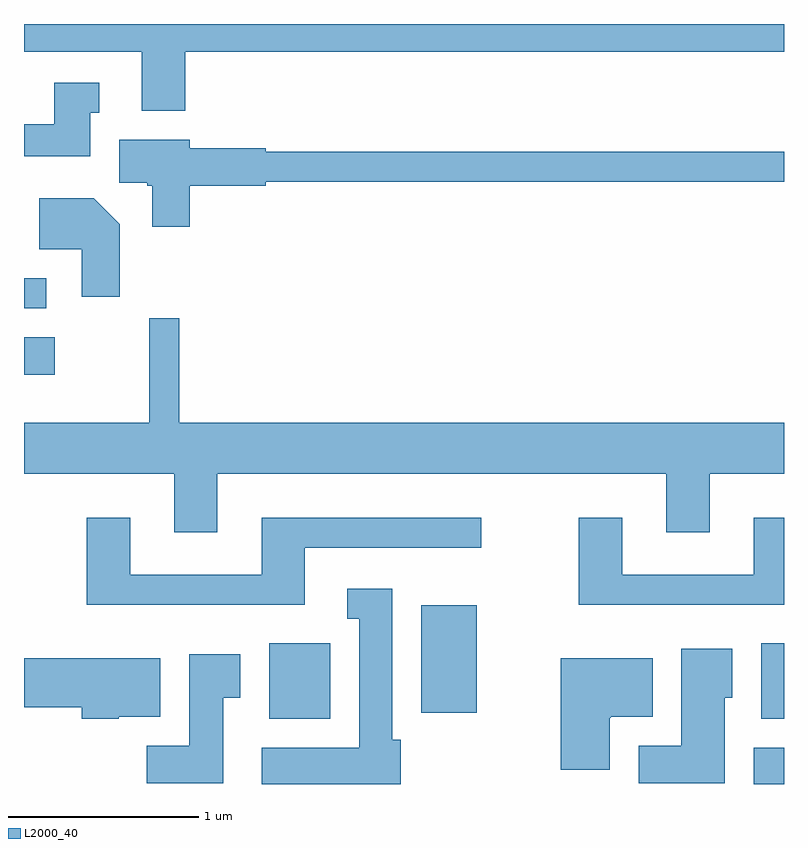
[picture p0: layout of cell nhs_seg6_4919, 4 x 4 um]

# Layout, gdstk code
import gdstk
lib = gdstk.Library(unit=1e-6, precision=1e-09)
def R(c, l, rs):  # rectangles x0, y0, x1, y1
    for r in rs: c.add(gdstk.rectangle(r[:2], r[2:], *l))
def P(c, l, *ps):  # polygons
    for p in ps: c.add(gdstk.Polygon(p, *l))
L2000_40 = (2000, 40)

nhs_seg6_4919 = lib.new_cell('nhs_seg6_4919')
R(nhs_seg6_4919, L2000_40, [(339.451,1566.162,339.611,1566.354), (336.901,1566.506,337.224,1566.904), (339.491,1566.506,339.611,1566.904), (337.701,1566.536,337.994,1567.104), (335.611,1568.316,335.774,1568.514), (335.611,1568.666,335.728,1568.824)])
P(nhs_seg6_4919, L2000_40, [(336.459,1570.016),(339.611,1570.016),(339.611,1570.162),(335.611,1570.162),(335.611,1570.016),(336.231,1570.016),(336.231,1569.706),(336.459,1569.706)],
  [(335.959,1569.696),(336.008,1569.696),(336.008,1569.854),(335.771,1569.854),(335.771,1569.634),(335.611,1569.634),(335.611,1569.466),(335.959,1569.466)],
  [(336.484,1569.311),(336.884,1569.311),(336.884,1569.331),(339.611,1569.331),(339.611,1569.489),(336.884,1569.489),(336.884,1569.509),(336.484,1569.509),(336.484,1569.554),(336.111,1569.554),(336.111,1569.326),(336.26,1569.326),(336.26,1569.311),(336.286,1569.311),(336.286,1569.096),(336.484,1569.096)],
  [(336.114,1569.107),(335.977,1569.244),(335.691,1569.244),(335.691,1568.976),(335.916,1568.976),(335.916,1568.726),(336.114,1568.726)],
  [(336.629,1567.796),(338.991,1567.796),(338.991,1567.486),(339.219,1567.486),(339.219,1567.796),(339.611,1567.796),(339.611,1568.064),(336.429,1568.064),(336.429,1568.613),(336.271,1568.613),(336.271,1568.064),(335.611,1568.064),(335.611,1567.796),(336.401,1567.796),(336.401,1567.486),(336.629,1567.486)],
  [(339.611,1567.564),(339.451,1567.564),(339.451,1567.264),(338.759,1567.264),(338.759,1567.564),(338.531,1567.564),(338.531,1567.106),(339.611,1567.106)],
  [(337.089,1567.406),(338.018,1567.406),(338.018,1567.564),(336.861,1567.564),(336.861,1567.264),(336.169,1567.264),(336.169,1567.564),(335.941,1567.564),(335.941,1567.106),(337.089,1567.106)],
  [(337.594,1566.394),(337.549,1566.394),(337.549,1567.189),(337.313,1567.189),(337.313,1567.031),(337.376,1567.031),(337.376,1566.354),(336.861,1566.354),(336.861,1566.162),(337.594,1566.162)],
  [(339.299,1566.616),(339.339,1566.616),(339.339,1566.874),(339.071,1566.874),(339.071,1566.364),(338.846,1566.364),(338.846,1566.166),(339.299,1566.166)],
  [(336.659,1566.616),(336.749,1566.616),(336.749,1566.844),(336.481,1566.844),(336.481,1566.364),(336.256,1566.364),(336.256,1566.166),(336.659,1566.166)],
  [(336.11,1566.516),(336.329,1566.516),(336.329,1566.824),(335.611,1566.824),(335.611,1566.566),(335.916,1566.566),(335.916,1566.506),(336.11,1566.506)],
  [(338.694,1566.51),(338.7,1566.51),(338.7,1566.516),(338.919,1566.516),(338.919,1566.824),(338.436,1566.824),(338.436,1566.236),(338.694,1566.236)])

lib.write_gds('nhs_seg6_4919.gds')
